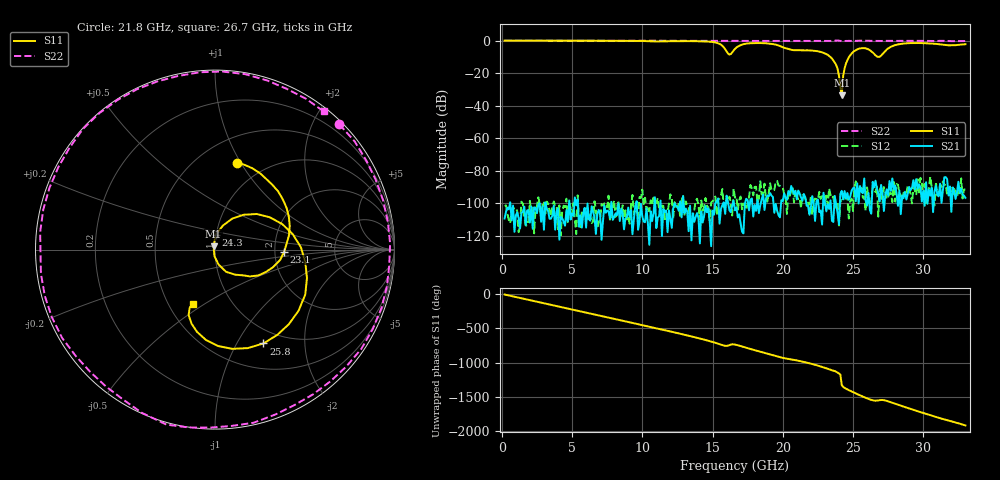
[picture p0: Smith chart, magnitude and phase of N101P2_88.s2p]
# GHZ S RI R 50
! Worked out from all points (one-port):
!   329 points, 200 MHz to 33 GHz, reference 50 ohm
!   lowest |S11| = -33.6 dB at 24.2 GHz (marker M1), VSWR 1.04, Z = 49.2 + j1.9 ohm
!   |S11| at or under -10 dB: 23.38 GHz to 24.72 GHz (1.344 GHz wide, 5.59 % of centre); 26.79147 GHz to 26.82218 GHz (30.72 MHz wide, 0.115 % of centre)
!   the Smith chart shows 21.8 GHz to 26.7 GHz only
!   S11 on the Smith chart (normalised r, x): 21.8 GHz: 0.75, +0.97; 23.1 GHz: 2.25, -0.06; 24.3 GHz: 0.99, +0.17; 25.8 GHz: 0.81, -1.30; 26.7 GHz: 0.66, -0.45
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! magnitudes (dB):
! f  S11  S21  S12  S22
! 200 MHz  0.0  -109.3  -101.7  0.0
! 5.7 GHz  0.0  -114.9  -104.8  -0.1
! 11.2 GHz  -0.5  -107.8  -103.5  -0.1
! 15.1 GHz  -1.0  -107.0  -97.5  -0.1
! 15.7 GHz  -3.2  -101.1  -91.2  -0.1
! 16.2 GHz  -8.6  -104.2  -95.9  -0.1
! 16.6 GHz  -5.1  -104.3  -96.5  -0.2
! 18.4 GHz  -1.5  -101.1  -86.4  -0.1
! 21.8 GHz  -6.0  -101.5  -99.0  -0.1
! 22.1 GHz  -6.1  -95.6  -107.3  -0.2
! 23.1 GHz  -8.3  -104.9  -95.2  -0.2
! 23.5 GHz  -11.0  -110.7  -96.8  -0.1
! 23.9 GHz  -17.2  -105.8  -99.2  0.1
! 24.2 GHz  -33.6  -92.3  -98.0  -0.2
! 24.3 GHz  -21.6  -97.5  -98.8  -0.2
! 24.5 GHz  -14.1  -97.3  -95.1  -0.1
! 24.8 GHz  -9.0  -95.9  -98.9  -0.2
! 25.8 GHz  -4.6  -84.7  -96.1  -0.1
! 26.7 GHz  -9.7  -90.9  -89.8  -0.2
! 27.6 GHz  -4.3  -86.3  -93.8  -0.1
! 29 GHz  -1.5  -89.9  -91.5  -0.2
! 33 GHz  -2.2  -96.6  -91.5  -0.3
